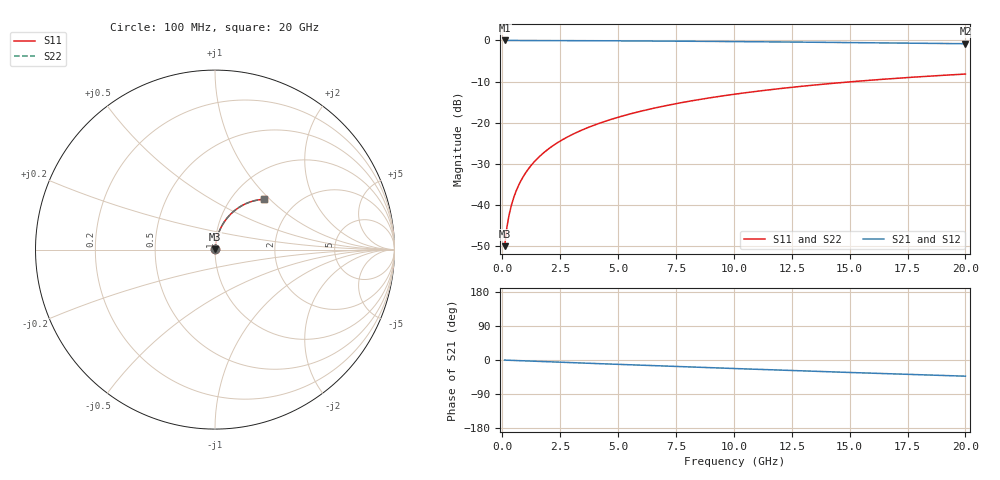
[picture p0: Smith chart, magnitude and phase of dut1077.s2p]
! Touchstone file exported from HFSS 2026.1.0
!  File:  C:/ffzhzh/LocalFiles/Ansys_Project_Files/temp_train_TMRDL_1077_1783160848_51560.aedt
!  Generated:  06:28:41 PM Jul  4, 2026
!  Design:  TMRDL
!  Project:  temp_train_TMRDL_1077_1783160848_51560
! Variables:
!  h_bsmrdl = 2um
!  h_ox = 20um
!  h_rdl = 5um
!  h_sub = 80um
!  h_tmrdl = 5.87um
!  h_tsv = 80um
!  h_via = 3um
!  l_bsmrdl = 300um
!  l_sub = 1027.27um
!  l_tmrdl = 627.27um
!  m_sub = 200um
!  pitch = 54.76um
!  r_tsv = 6um
!  s_tmrdl = 10um
!  w_bsmrdl = 18um
!  w_sub = 500um
!  w_tmrdl = 22.81um
!  x_tsv_center1 = 638.675um
!  x_tsv_center2 = 956.675um
!  x_tsv_center3 = 1606.755um
!  x_tsv_center4 = 1924.755um
!  x_tsv_center5 = 2574.835um
!  x_tsv_center6 = 2892.835um
# GHz S MA R 50.000000
! Terminal data exported
! Port[1] = TM_RDL1_1_T1
! Port[2] = TM_RDL1_1_T2
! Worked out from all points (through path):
!   200 points, 100 MHz to 20 GHz, reference 50 ohm
!   highest |S21| = -0.02 dB at 100 MHz (marker M1); lowest = -0.8 dB at 20 GHz (marker M2)
!   group delay of S21, straight-line fit = 5.93 ps
!   lowest |S11| = -50.0 dB at 100 MHz (marker M3), VSWR 1.01, Z = 50.2 + j0.259 ohm
!   |S11| at or under -10 dB: start of sweep to 15.18 GHz
!   |S22| runs from -50.0 to -8.2 dB; largest |S21 - S12| = 4.4e-15
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0.1  0.003158 54.7  0.9982 -0.2  0.9982 -0.2  0.003158 54.7
! Gamma 0 0 0 0
! Port Impedance 50 0 50 0
0.2  0.005407 68.5  0.998 -0.5  0.998 -0.5  0.005407 68.5
0.3  0.007727 74.1  0.9979 -0.7  0.9979 -0.7  0.007727 74.1
0.4  0.01008 77.1  0.9979 -0.9  0.9979 -0.9  0.01008 77.1
0.5  0.01244 78.9  0.9978 -1.2  0.9978 -1.2  0.01244 78.9
0.7  0.01721 80.9  0.9976 -1.7  0.9976 -1.7  0.01721 80.9
0.8  0.0196 81.5  0.9975 -1.9  0.9975 -1.9  0.0196 81.5
1  0.02439 82.1  0.9973 -2.4  0.9973 -2.4  0.02439 82.1
1.2  0.02917 82.3  0.9971 -2.8  0.9971 -2.8  0.02917 82.3
1.4  0.03393 82.3  0.9968 -3.3  0.9968 -3.3  0.03393 82.3
1.7  0.04105 82.1  0.9963 -4.0  0.9963 -4.0  0.04105 82.1
2  0.04812 81.7  0.9958 -4.7  0.9958 -4.7  0.04812 81.7
2.7  0.06443 80.5  0.9943 -6.3  0.9943 -6.3  0.06443 80.5
3.5  0.08276 78.9  0.9923 -8.1  0.9923 -8.1  0.08276 78.9
4.2  0.09855 77.5  0.9903 -9.7  0.9903 -9.7  0.09855 77.5
5  0.1163 75.9  0.9879 -11.5  0.9879 -11.5  0.1163 75.9
6.8  0.1554 72.2  0.9816 -15.5  0.9816 -15.5  0.1554 72.2
8.3  0.1869 69.1  0.9755 -18.8  0.9755 -18.8  0.1869 69.1
10.1  0.2233 65.4  0.9673 -22.7  0.9673 -22.7  0.2233 65.4
13.4  0.2854 58.7  0.95 -29.6  0.95 -29.6  0.2854 58.7
16.7  0.3411 52.2  0.9311 -36.3  0.9311 -36.3  0.3411 52.2
20  0.3899 46.0  0.9115 -42.7  0.9115 -42.7  0.3899 45.9
